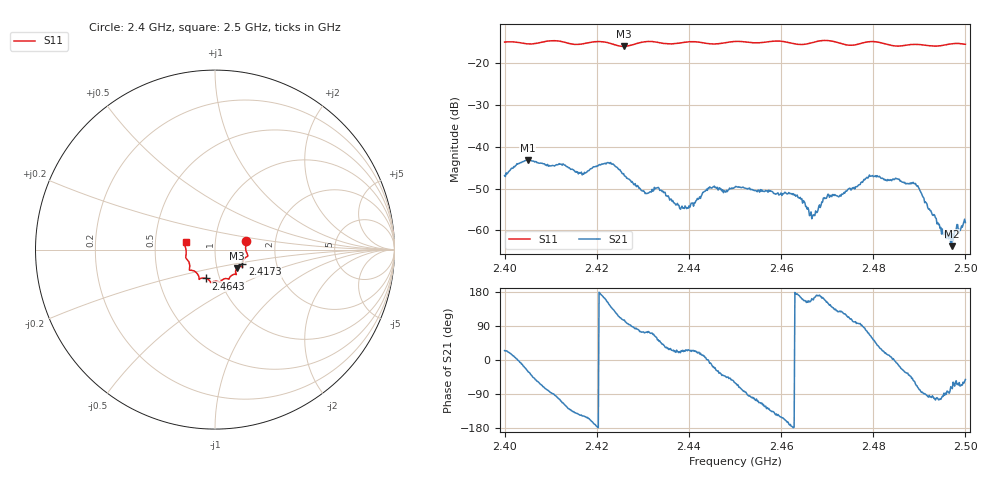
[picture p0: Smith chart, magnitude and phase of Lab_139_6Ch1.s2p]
# Hz S RI R 50
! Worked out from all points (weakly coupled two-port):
!   601 points, 2.4 GHz to 2.5 GHz, reference 50 ohm
!   highest |S21| = -43.13 dB at 2.405 GHz (marker M1); lowest = -63.8 dB at 2.497 GHz (marker M2)
!   lowest |S11| = -15.9 dB at 2.4258 GHz (marker M3), VSWR 1.38, Z = 62.3 - j13.2 ohm
!   |S11| at or under -10 dB: start of sweep to end of sweep
!   S12 and S22 are empty: the file has one direction only
!   S11 on the Smith chart (normalised r, x): 2.4 GHz: 1.41, +0.14; 2.4173 GHz: 1.34, -0.23; 2.4643 GHz: 0.86, -0.28; 2.5 GHz: 0.72, +0.06
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2.4e9  0.1733 0.0488  0.0041 0.00189  0 0  0 0
2.405e9  0.1706 0.0142  0.0061 -0.00338  0 0  0 0
2.412667e9  0.1767 -0.0396  -0.00245 -0.00574  0 0  0 0
2.416667e9  0.1531 -0.0747  -0.00408 -0.00283  0 0  0 0
2.417333e9  0.1521 -0.0822  -0.00423 -0.00257  0 0  0 0
2.422667e9  0.1477 -0.0946  -0.00532 0.00351  0 0  0 0
2.425833e9  0.1217 -0.1035  -0.00125 0.0046  0 0  0 0
2.4305e9  0.1184 -0.1378  0.000836 0.00262  0 0  0 0
2.433333e9  0.1131 -0.1375  0.00194 0.00262  0 0  0 0
2.4385e9  0.0808 -0.1573  0.00178 0.000777  0 0  0 0
2.444667e9  0.0582 -0.1612  0.00323 -0.000448  0 0  0 0
2.45e9  0.0288 -0.1809  0.00163 -0.00284  0 0  0 0
2.464333e9  -0.0498 -0.1607  -0.00227 0.000623  0 0  0 0
2.466667e9  -0.076 -0.1592  -0.0013 0.000425  0 0  0 0
2.469833e9  -0.0885 -0.166  -0.00214 0.00111  0 0  0 0
2.473e9  -0.0911 -0.1468  -0.00161 0.00199  0 0  0 0
2.478833e9  -0.14 -0.1148  0.00134 0.00399  0 0  0 0
2.483333e9  -0.1406 -0.0899  0.00387 0.000879  0 0  0 0
2.489167e9  -0.1629 -0.0445  0.00164 -0.00324  0 0  0 0
2.494833e9  -0.1632 0.00787  -0.000146 -0.000888  0 0  0 0
2.497e9  -0.1694 0.0271  0.000186 -0.000617  0 0  0 0
2.5e9  -0.1639 0.0427  0.00077 -0.000968  0 0  0 0
